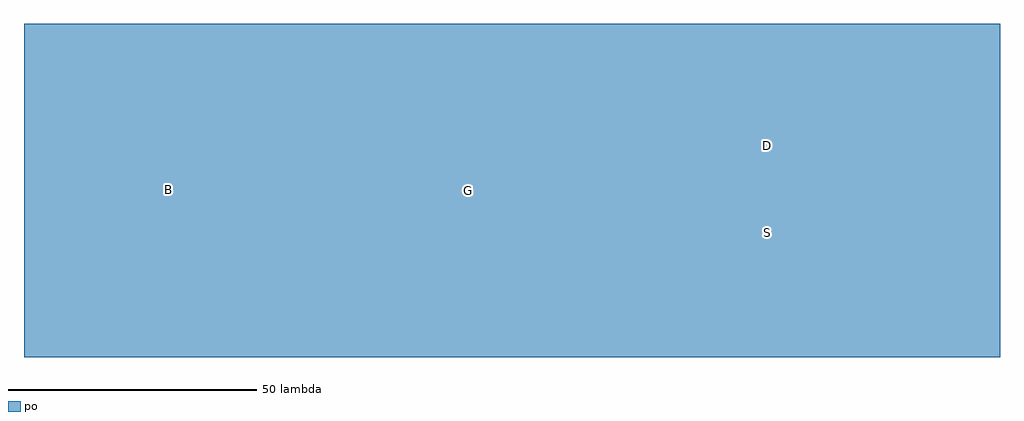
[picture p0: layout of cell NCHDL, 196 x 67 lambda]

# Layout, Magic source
magic
tech tech
magscale 1 2
<< po >>
rect -34 -9 34 9
rect -34 9 34 26
rect -21 13 -13 21
rect 13 13 21 21
rect 224 9 275 26
rect 237 13 245 21
rect 257 13 265 21
rect -34 26 34 43
rect 224 26 275 43
rect -34 43 34 60
rect -21 48 -13 56
rect 13 48 21 56
rect 224 43 275 60
rect 237 48 245 56
rect 257 48 265 56
rect -34 60 34 77
rect 103 -3 327 3
rect 103 28 155 40
rect 108 30 116 38
rect 142 30 150 38
rect 155 31 327 37
rect 86 28 155 40
rect 103 66 327 72
rect -34 -9 34 9
rect -34 9 34 26
rect 206 11 275 23
rect 206 11 275 23
rect -34 26 34 43
rect -34 26 34 43
rect 86 28 155 40
rect -34 43 34 60
rect 206 46 275 58
rect 206 46 275 58
rect -34 60 34 77
rect 200 -15 299 84
rect -58 -33 334 101
rect -58 -33 334 101
rect -58 -33 58 101
<< labels >>
flabel po s 86 28 155 40 0 FreeSans 400 0 0 0 G
port 2 nsew signal bidirectional
flabel po s 206 11 275 23 0 FreeSans 400 0 0 0 S
port 3 nsew signal bidirectional
flabel po s -34 26 34 43 0 FreeSans 400 0 0 0 B
port 4 nsew signal bidirectional
flabel po s 206 46 275 58 0 FreeSans 400 0 0 0 D
port 1 nsew signal bidirectional
<< properties >>
string FIXED_BBOX -58 -33 334 101
<< end >>
